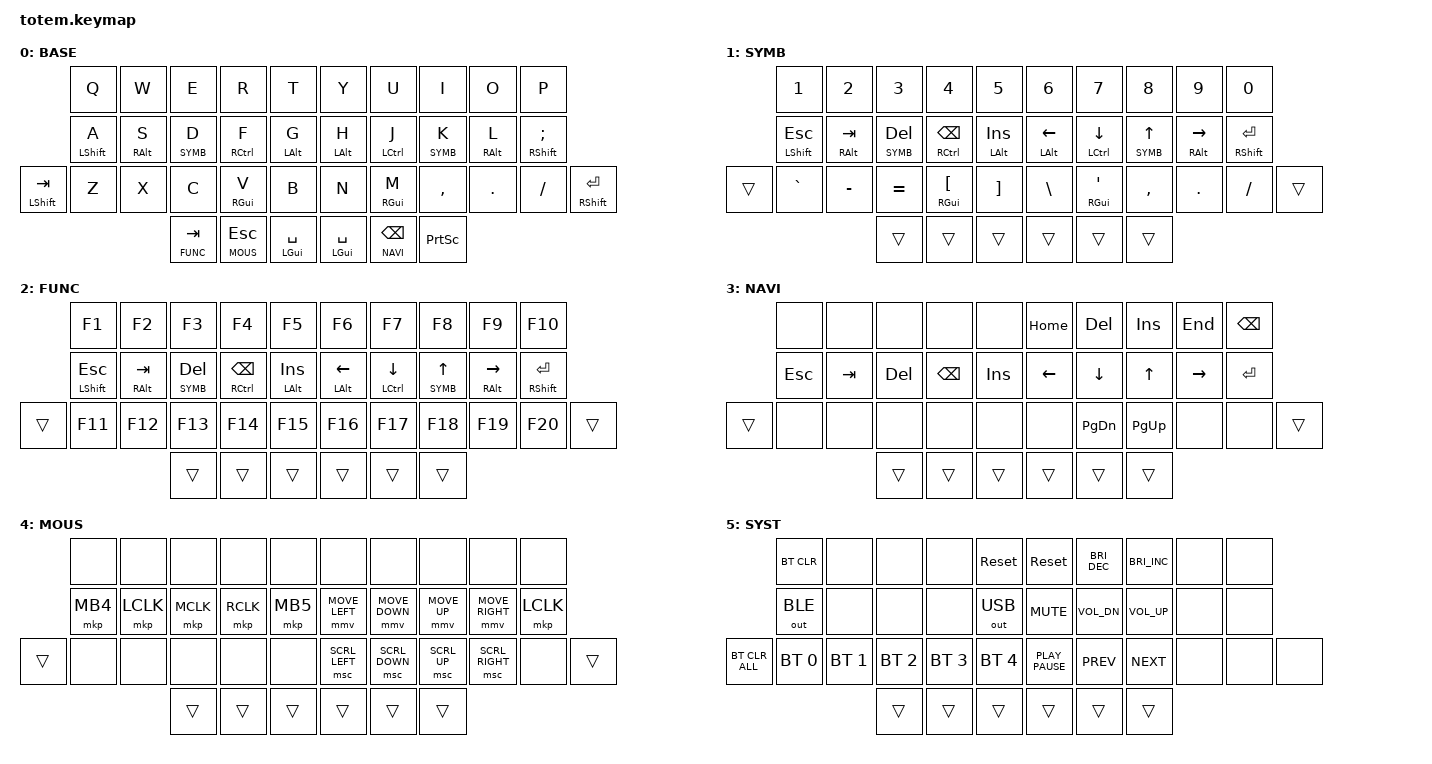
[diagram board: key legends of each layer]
//
//                                                        ▀▀▀▀▀     ▀▀▀▀▀          ▀▀█▀▀
//                                                        ▄▀▀▀▄  ▄  ▄▀▀▀▄  ▄  ▄▀▀▀▄  █  ▄▀▀▀▄
//                                                        █   █  █  █   █  █  █   █  █  █   █
//                                                         ▀▀▀   █   ▀▀▀   █   ▀▀▀   ▀   ▀▀▀
//                                                               █      ▄▄▄█▄▄▄    █   █  
//                                                               ▀      █  █  █     █▄█
//                                                             ▀▀▀▀▀    █  █  █      ▀
//                                                                      ▀  ▀  ▀
//
// ▄▄▄▄▄▄▄▄▄▄▄▄▄▄▄▄▄▄▄▄▄▄▄▄▄▄▄▄▄▄▄▄▄▄▄▄▄▄▄▄▄▄▄▄▄▄▄▄▄▄▄▄▄▄▄▄▄▄▄▄▄▄▄▄▄▄▄▄▄▄▄▄▄▄▄▄▄▄▄▄▄▄▄▄▄▄▄▄▄▄▄▄▄▄▄▄▄▄▄▄▄▄▄▄▄▄▄▄▄▄▄▄▄▄▄▄▄▄▄▄▄▄▄▄▄▄▄▄▄▄▄▄▄▄▄▄▄▄▄▄▄▄▄▄▄▄▄▄▄

#include <behaviors.dtsi>
#include <dt-bindings/zmk/bt.h>
#include <dt-bindings/zmk/keys.h>
#include <dt-bindings/zmk/outputs.h>
#include <dt-bindings/zmk/pointing.h>

#define KEYS_L 0 1 2 3 4  10 11 12 13 14  20 21 22 23 24 25  // left hand
#define KEYS_R 5 6 7 8 9  15 16 17 18 19  26 27 28 29 30 31  // right hand
#define THUMBS 37 // thumb cluster for both hands (only non-switching)
#define BASE  0
#define SYMB  1
#define FUNC  2
#define NAVI  3
#define MOUS  4
#define SYST  5

&mt {
    quick-tap-ms = <100>;
    global-quick-tap;
    flavor = "tap-preferred";
    tapping-term-ms = <170>;
};

/ {
    combos {
        compatible = "zmk,combos";

        combo_esc {
            timeout-ms = <50>;
            key-positions = <1 2>;  // Combo `w+e`
            bindings = <&kp ESC>;
        };

        combo_ret {
            timeout-ms = <50>;
            key-positions = <7 8>;  // Combo `i+o`
            bindings = <&kp ENTER>;
        };

        combo_caps {
            timeout-ms = <100>;
            key-positions = <10 19>; // Combo `a+;`
            bindings = <&kp CAPSLOCK>;
        };

        combo_caps2 {
            timeout-ms = <100>;
            key-positions = <20 31>; // Combo `right-shift+left-shift`
            bindings = <&kp CAPSLOCK>;
        };

        combo_boot_left {
            timeout-ms = <100>;
            key-positions = <10 11 12 14>; // Combo `a+s+d+g`
            bindings = <&bootloader>;
        };

        combo_boot_right {
            timeout-ms = <100>;
            key-positions = <15 17 18 19>; // Combo `h+k+l+;`
            bindings = <&bootloader>;
        };

        combo_sys_left {
            timeout-ms = <100>;
            key-positions = <24 34>; // Combo `v+space`
            bindings = <&mo SYST>;
        };

        combo_sys_right {
            timeout-ms = <100>;
            key-positions = <27 35>; // Combo `m+space`
            bindings = <&mo SYST>;
        };
    };

    behaviors {
        hml: home_row_mod_left {
            compatible = "zmk,behavior-hold-tap";
            #binding-cells = <2>;
            flavor = "balanced";
            require-prior-idle-ms = <150>;
            tapping-term-ms = <280>;
            quick-tap-ms = <175>;
            bindings = <&kp>, <&kp>;

            hold-trigger-key-positions = <KEYS_R THUMBS>;
            hold-trigger-on-release;
        };

        hmr: home_row_mod_right {
            compatible = "zmk,behavior-hold-tap";
            #binding-cells = <2>;
            flavor = "balanced";
            require-prior-idle-ms = <150>;
            tapping-term-ms = <280>;
            quick-tap-ms = <175>;
            bindings = <&kp>, <&kp>;

            hold-trigger-key-positions = <KEYS_L THUMBS>;
            hold-trigger-on-release;
        };

        hml2: home_row_mod_left2 {
            compatible = "zmk,behavior-hold-tap";
            #binding-cells = <2>;
            flavor = "balanced";
            require-prior-idle-ms = <150>;
            tapping-term-ms = <280>;
            quick-tap-ms = <175>;
            bindings = <&mo>, <&kp>;

            hold-trigger-key-positions = <KEYS_R THUMBS>;
            hold-trigger-on-release;
        };

        hmr2: home_row_mod_right2 {
            compatible = "zmk,behavior-hold-tap";
            #binding-cells = <2>;
            flavor = "balanced";
            require-prior-idle-ms = <150>;
            tapping-term-ms = <280>;
            quick-tap-ms = <175>;
            bindings = <&mo>, <&kp>;

            hold-trigger-key-positions = <KEYS_L THUMBS>;
            hold-trigger-on-release;
        };
    };

    macros {
        gif: gif {
            label = "giphy";
            compatible = "zmk,behavior-macro";
            #binding-cells = <0>;
            bindings =
                <&macro_press>,
                <&kp LSHFT>,
                <&macro_tap>,
                <&kp N2>,
                <&macro_release>,
                <&kp LSHFT>,
                <&macro_tap>,
                <&kp G &kp I &kp F>;
        };
    };

    keymap {
        compatible = "zmk,keymap";

        base_layer {
            label = "BASE";
            bindings = <
                 &kp Q          &kp W             &kp E         &kp R         &kp T              &kp Y            &kp U               &kp I            &kp O             &kp P
                 &hml LSHIFT A  &hml RIGHT_ALT S  &hml2 SYMB D  &hml RCTRL F  &hml LEFT_ALT G    &hmr LEFT_ALT H  &hmr LCTRL J        &hmr2 SYMB K     &hmr RIGHT_ALT L  &hmr RSHIFT SEMICOLON
&hml LSHIFT TAB  &kp Z          &kp X             &kp C         &hml RGUI V   &kp B              &kp N            &hmr RGUI M         &kp COMMA        &kp DOT           &kp SLASH              &hmr RSHFT RET
                                                  &lt FUNC TAB  &lt MOUS ESC  &mt LGUI SPACE     &mt LGUI SPACE   &lt NAVI BACKSPACE  &kp PRINTSCREEN
            >;
        };

        symbols {
            label = "SYMB";
            bindings = <
        &kp NUMBER_1       &kp NUMBER_2        &kp NUMBER_3       &kp NUMBER_4           &kp N5               &kp NUMBER_6        &kp N7                 &kp N8         &kp N9                &kp N0
        &hml LSHFT ESCAPE  &hml RIGHT_ALT TAB  &hml2 SYMB DELETE  &hml RCTRL BACKSPACE   &hml LEFT_ALT INS    &hmr LEFT_ALT LEFT  &hmr LCTRL DOWN        &hmr2 SYMB UP  &hmr RIGHT_ALT RIGHT  &hmr RSHFT ENTER
&trans  &kp GRAVE          &kp MINUS           &kp EQUAL          &mt RGUI LEFT_BRACKET  &kp RIGHT_BRACKET    &kp BACKSLASH       &mt RGUI SINGLE_QUOTE  &kp COMMA      &kp PERIOD            &kp SLASH         &trans
                                               &trans             &trans                 &trans               &trans              &trans                 &trans
            >;
        };

        func {
            label = "FUNC";
            bindings = <
        &kp F1             &kp F2              &kp F3             &kp F4                &kp F5               &kp F6              &kp F7           &kp F8         &kp F9                &kp F10
        &hml LSHFT ESCAPE  &hml RIGHT_ALT TAB  &hml2 SYMB DELETE  &hml RCTRL BACKSPACE  &hml LEFT_ALT INS    &hmr LEFT_ALT LEFT  &hmr LCTRL DOWN  &hmr2 SYMB UP  &hmr RIGHT_ALT RIGHT  &hmr RSHFT ENTER
&trans  &kp F11            &kp F12             &kp F13            &kp F14               &kp F15              &kp F16             &kp F17          &kp F18        &kp F19               &kp F20           &trans
                                               &trans             &trans                &trans               &trans              &trans           &trans
            >;
        };

        navigation {
            label = "NAVI";
            bindings = <
        &none       &none    &none    &none          &none      &kp HOME  &kp DEL        &kp INS    &kp END    &kp BACKSPACE
        &kp ESCAPE  &kp TAB  &kp DEL  &kp BACKSPACE  &kp INS    &kp LEFT  &kp DOWN       &kp UP     &kp RIGHT  &kp ENTER
&trans  &none       &none    &none    &none          &none      &none     &kp PAGE_DOWN  &kp PG_UP  &none      &none          &trans
                             &trans   &trans         &trans     &trans    &trans         &trans
            >;
        };

        mouse {
            label = "MOUS";
            bindings = <
        &none     &none      &none      &none      &none       &none           &none           &none         &none            &none
        &mkp MB4  &mkp LCLK  &mkp MCLK  &mkp RCLK  &mkp MB5    &mmv MOVE_LEFT  &mmv MOVE_DOWN  &mmv MOVE_UP  &mmv MOVE_RIGHT  &mkp LCLK
&trans  &none     &none      &none      &none      &none       &msc SCRL_LEFT  &msc SCRL_DOWN  &msc SCRL_UP  &msc SCRL_RIGHT  &none      &trans
                             &trans     &trans     &trans      &trans          &trans          &trans
            >;
        };

        system {
            label = "SYST";
            bindings = <
                &bt BT_CLR    &none         &none         &none         &sys_reset      &sys_reset        &kp C_BRIGHTNESS_DEC  &kp C_BRIGHTNESS_INC  &none  &none
                &out OUT_BLE  &none         &none         &none         &out OUT_USB    &kp C_MUTE        &kp C_VOL_DN          &kp C_VOL_UP          &none  &none
&bt BT_CLR_ALL  &bt BT_SEL 0  &bt BT_SEL 1  &bt BT_SEL 2  &bt BT_SEL 3  &bt BT_SEL 4    &kp K_PLAY_PAUSE  &kp K_PREV            &kp C_NEXT            &none  &none  &none
                                            &trans        &trans        &trans          &trans            &trans                &trans
            >;
        };
    };
};
